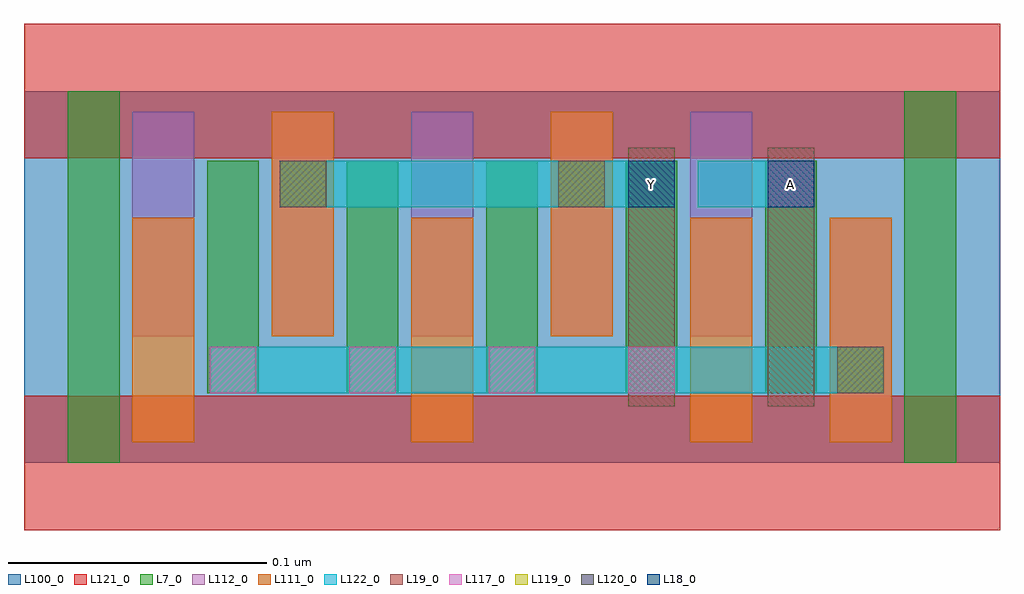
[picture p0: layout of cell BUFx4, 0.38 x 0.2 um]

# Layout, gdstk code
import gdstk
lib = gdstk.Library(unit=1e-6, precision=2.5e-10)
def R(c, l, rs):  # rectangles x0, y0, x1, y1
    for r in rs: c.add(gdstk.rectangle(r[:2], r[2:], *l))
def A(c, l, x, y, w, h, nx, ny, dx, dy):  # array of equal rectangles
    R(c, l, [(x+i*dx, y+j*dy, x+i*dx+w, y+j*dy+h) for i in range(nx) for j in range(ny)])
L7_0 = (7, 0)
L18_0 = (18, 0)
L19_0 = (19, 0)
L100_0 = (100, 0)
L111_0 = (111, 0)
L112_0 = (112, 0)
L117_0 = (117, 0)
L119_0 = (119, 0)
L120_0 = (120, 0)
L121_0 = (121, 0)
L122_0 = (122, 0)

bufx4 = lib.new_cell('BUFx4')
A(bufx4, L7_0, 0.071, 0.027, 0.02, 0.09, 5, 1, 0.054, 0)
R(bufx4, L7_0, [(0.017,0,0.037,0.144), (0.341,0,0.361,0.144)])
R(bufx4, L18_0, [(0.234,0.099,0.252,0.117), (0.288,0.099,0.306,0.117)])
R(bufx4, L19_0, [(0.234,0.022,0.252,0.122), (0.288,0.022,0.306,0.122)])
R(bufx4, L100_0, [(0,0,0.378,0.144)])
A(bufx4, L111_0, 0.042, 0.008, 0.024, 0.087, 3, 1, 0.108, 0)
R(bufx4, L111_0, [(0.312,0.008,0.336,0.095), (0.096,0.049,0.12,0.136), (0.204,0.049,0.228,0.136)])
A(bufx4, L112_0, 0.042, 0.049, 0.024, 0.087, 5, 1, 0.054, 0)
R(bufx4, L112_0, [(0.312,0.008,0.336,0.095)])
A(bufx4, L117_0, 0.072, 0.027, 0.018, 0.018, 4, 1, 0.054, 0)
R(bufx4, L117_0, [(0.288,0.099,0.306,0.117)])
R(bufx4, L119_0, [(0.315,0.027,0.333,0.045), (0.099,0.099,0.117,0.117), (0.207,0.099,0.225,0.117)])
R(bufx4, L120_0, [(0.315,0.027,0.333,0.045), (0.099,0.099,0.117,0.117), (0.207,0.099,0.225,0.117)])
R(bufx4, L121_0, [(0,-0.026,0.378,0.026), (0,0.118,0.378,0.17)])
R(bufx4, L122_0, [(0.072,0.027,0.333,0.045), (0.099,0.099,0.252,0.117), (0.261,0.099,0.306,0.117)])
bufx4.add(gdstk.Label('Y', (0.243,0.108), layer=19, texttype=251))
bufx4.add(gdstk.Label('A', (0.297,0.108), layer=19, texttype=251))

lib.write_gds('BUFx4.gds')
